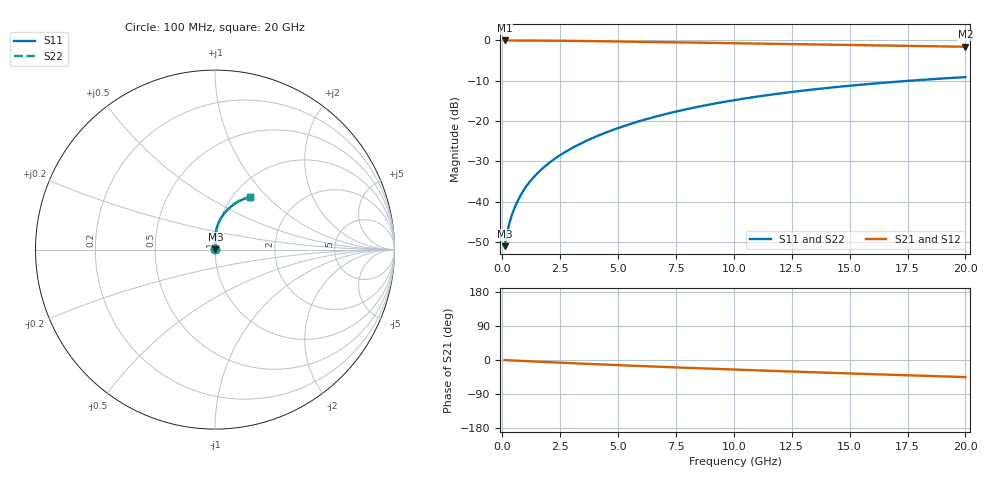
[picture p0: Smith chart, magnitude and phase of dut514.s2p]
! Touchstone file exported from HFSS 2024.1.0
!  File:  C:/UserFiles/LocalFiles/RDL_TSV_Batchsim/temp_RDL_top_514_1779679567.aedt
!  Generated:  11:28:14 AM May 25, 2026
!  Design:  RDL_top
!  Project:  temp_RDL_top_514_1779679567
!  Setup:  Setup1
!  Solution:  Sweep
! Variables:
!  dtsv = 10.80580581um
!  hbump = 3um
!  htsv = 73.42um
!  ldown = 100um
!  lrdl = 662.88um
!  p = 40
!  p1 = 55.71um
!  rhole = 1um
!  t = 450um
!  tdown = 3.915915916um
!  trdl = 4.18um
!  wdown = 15.38538539um
!  wrdl = 28.05um
# GHz S MA R 50.000000
! Terminal data exported
! Port[1] = Box2_T1
! Port[2] = Box2_T2
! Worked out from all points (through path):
!   200 points, 100 MHz to 20 GHz, reference 50 ohm
!   highest |S21| = -0.02 dB at 100 MHz (marker M1); lowest = -1.6 dB at 20 GHz (marker M2)
!   group delay of S21, straight-line fit = 6.17 ps
!   lowest |S11| = -51.0 dB at 100 MHz (marker M3), VSWR 1.01, Z = 50.2 + j0.17 ohm
!   |S11| at or under -10 dB: start of sweep to 17.63 GHz
!   |S22| runs from -51.0 to -9.1 dB; largest |S21 - S12| = 6.1e-15
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0.1  0.002802 37.1  0.9977 -0.3  0.9977 -0.3  0.002802 37.1
! Gamma 0 0 0 0
! Port Impedance 50 0 50 0
0.2  0.004032 53.3  0.9975 -0.6  0.9975 -0.6  0.004032 53.3
0.3  0.005322 61.5  0.9973 -0.9  0.9973 -0.9  0.005322 61.6
0.4  0.006629 66.8  0.9971 -1.2  0.9971 -1.2  0.006629 66.9
0.5  0.007959 70.6  0.9969 -1.4  0.9969 -1.4  0.007959 70.7
0.6  0.009314 73.5  0.9967 -1.7  0.9967 -1.7  0.009313 73.5
0.8  0.01208 77.5  0.9963 -2.3  0.9963 -2.3  0.01208 77.6
1.1  0.01636 81.2  0.9955 -3.1  0.9955 -3.1  0.01636 81.3
1.5  0.02223 84.2  0.9941 -4.3  0.9941 -4.3  0.02223 84.2
2.1  0.03138 86.6  0.9912 -5.9  0.9912 -5.9  0.03139 86.7
2.7  0.04097 87.9  0.9876 -7.6  0.9876 -7.6  0.04099 88.0
3.5  0.05444 88.7  0.9819 -9.7  0.9819 -9.7  0.05449 88.7
4.2  0.06687 88.7  0.9763 -11.6  0.9763 -11.6  0.06694 88.8
5  0.08171 88.1  0.9693 -13.6  0.9693 -13.6  0.08181 88.2
5.9  0.09905 87.0  0.9611 -15.8  0.9611 -15.8  0.09919 87.1
6.8  0.1169 85.6  0.9526 -17.9  0.9526 -17.9  0.117 85.7
8.4  0.149 82.4  0.9375 -21.6  0.9375 -21.6  0.1493 82.5
10.1  0.183 78.6  0.9215 -25.4  0.9215 -25.4  0.1833 78.6
11.7  0.2141 74.8  0.9067 -28.8  0.9067 -28.8  0.2145 74.9
13.4  0.2456 70.9  0.8913 -32.3  0.8913 -32.3  0.2461 71.0
16.7  0.3017 63.5  0.862 -38.9  0.862 -38.9  0.3024 63.6
20  0.3505 56.6  0.8336 -45.1  0.8336 -45.1  0.3512 56.7
